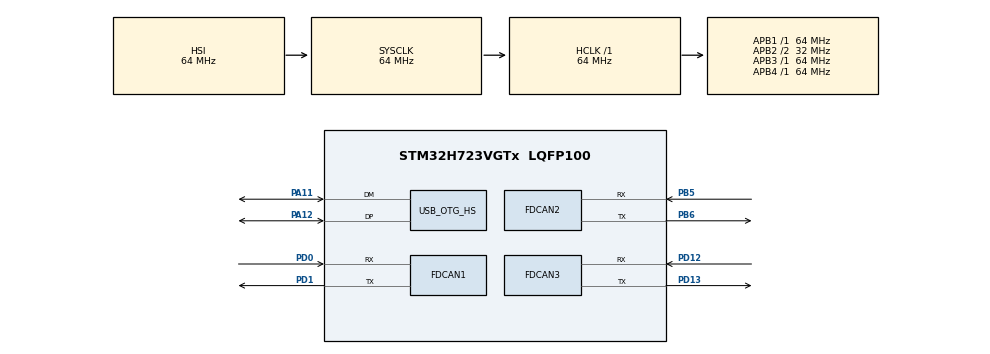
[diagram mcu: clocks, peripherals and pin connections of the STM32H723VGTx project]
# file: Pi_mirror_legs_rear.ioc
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CORTEX_M7.default_mode_Activation=1
FDCAN1.AutoRetransmission=ENABLE
FDCAN1.CalculateBaudRateNominal=1000000
FDCAN1.CalculateTimeBitNominal=1000
FDCAN1.CalculateTimeQuantumNominal=20.833333333333332
FDCAN1.DataPrescaler=3
FDCAN1.DataSyncJumpWidth=5
FDCAN1.DataTimeSeg1=10
FDCAN1.DataTimeSeg2=5
FDCAN1.NominalPrescaler=1
FDCAN1.NominalSyncJumpWidth=6
FDCAN1.NominalTimeSeg1=32
FDCAN1.NominalTimeSeg2=15
FDCAN1.RxFifo0ElmtsNbr=1
FDCAN1.StdFiltersNbr=1
FDCAN1.TxFifoQueueElmtsNbr=1
FDCAN2.AutoRetransmission=ENABLE
FDCAN2.CalculateBaudRateNominal=1000000
FDCAN2.CalculateTimeBitNominal=1000
FDCAN2.CalculateTimeQuantumNominal=20.833333333333332
FDCAN2.DataPrescaler=3
FDCAN2.DataSyncJumpWidth=5
FDCAN2.DataTimeSeg1=10
FDCAN2.DataTimeSeg2=5
FDCAN2.MessageRAMOffset=512
FDCAN2.NominalPrescaler=1
FDCAN2.NominalSyncJumpWidth=6
FDCAN2.NominalTimeSeg1=32
FDCAN2.NominalTimeSeg2=15
FDCAN2.RxFifo0ElmtsNbr=1
FDCAN2.RxFifo1ElmtsNbr=0
FDCAN2.StdFiltersNbr=1
FDCAN2.TxFifoQueueElmtsNbr=1
FDCAN3.AutoRetransmission=ENABLE
FDCAN3.CalculateBaudRateNominal=1000000
FDCAN3.CalculateTimeBitNominal=1000
FDCAN3.CalculateTimeQuantumNominal=20.833333333333332
FDCAN3.DataPrescaler=3
FDCAN3.DataSyncJumpWidth=5
FDCAN3.DataTimeSeg1=10
FDCAN3.MessageRAMOffset=1024
FDCAN3.NominalPrescaler=1
FDCAN3.NominalSyncJumpWidth=6
FDCAN3.NominalTimeSeg1=32
FDCAN3.NominalTimeSeg2=15
FDCAN3.RxFifo0ElmtsNbr=1
FDCAN3.StdFiltersNbr=1
FDCAN3.TxFifoQueueElmtsNbr=1
Mcu.Family=STM32H7
Mcu.Name=STM32H723VGTx
Mcu.Package=LQFP100
NVIC.FDCAN1_IT0_IRQn=true\:0\:0\:false\:false\:true\:true\:true\:true
NVIC.FDCAN2_IT0_IRQn=true\:0\:0\:false\:false\:true\:true\:true\:true
NVIC.FDCAN3_IT0_IRQn=true\:0\:0\:false\:false\:true\:true\:true\:true
NVIC.OTG_HS_IRQn=true\:0\:0\:false\:false\:true\:false\:true\:true
NVIC.PriorityGroup=NVIC_PRIORITYGROUP_4
PA11.Mode=Device_Only_FS
PA11.Signal=USB_OTG_HS_DM
PA12.Mode=Device_Only_FS
PA12.Signal=USB_OTG_HS_DP
PB5.Mode=FDCAN_Activate
PB5.Signal=FDCAN2_RX
PB6.Mode=FDCAN_Activate
PB6.Signal=FDCAN2_TX
PD0.Mode=FDCAN_Activate
PD0.Signal=FDCAN1_RX
PD1.Mode=FDCAN_Activate
PD1.Signal=FDCAN1_TX
PD12.Mode=FDCAN_Activate
PD12.Signal=FDCAN3_RX
PD13.Mode=FDCAN_Activate
PD13.Signal=FDCAN3_TX
ProjectManager.HeapSize=0x200
ProjectManager.StackSize=0x400
ProjectManager.TargetToolchain=STM32CubeIDE
RCC.ADCFreq_Value=129000000
RCC.APB1Freq_Value=64000000
RCC.APB2Freq_Value=32000000
RCC.APB3Freq_Value=64000000
RCC.APB4Freq_Value=64000000
RCC.CortexFreq_Value=64000000
RCC.D2PPRE2=RCC_APB2_DIV2
RCC.DIVM1=4
RCC.DIVN1=12
RCC.DIVQ1=4
RCC.HCLKFreq_Value=64000000
RCC.PLLSource=RCC_PLLSOURCE_HSI
RCC.PLLSourceVirtual=RCC_PLLSOURCE_HSI
RCC.SYSCLKFreq_VALUE=64000000
RCC.USBFreq_Value=48000000
USB_DEVICE.CLASS_NAME_HS=CDC
USB_DEVICE.USBD_LPM_ENABLED=0
USB_DEVICE.USBD_SELF_POWERED=1
USB_DEVICE.VirtualMode=Cdc
USB_DEVICE.VirtualModeHS=Cdc_HS
USB_OTG_HS.VirtualMode-Device_Only_FS=Device_Only_FS
VP_MEMORYMAP_VS_MEMORYMAP.Mode=CurAppReg
VP_USB_DEVICE_VS_USB_DEVICE_CDC_HS.Mode=CDC_HS
board=custom

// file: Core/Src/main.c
/* USER CODE BEGIN Header */
/**
  ******************************************************************************
  * @file           : main.c
  * @brief          : Main program body
  ******************************************************************************
  * @attention
  *
  * Copyright (c) 2025 STMicroelectronics.
  * All rights reserved.
  *
  * This software is licensed under terms that can be found in the LICENSE file
  * in the root directory of this software component.
  * If no LICENSE file comes with this software, it is provided AS-IS.
  *
  ******************************************************************************
  */
/* USER CODE END Header */
#include "main.h"
#include "usb_device.h"

/* USER CODE BEGIN Includes */
#include <stdio.h>
#include <string.h>
#include "usbd_cdc_if.h"

extern USBD_HandleTypeDef hUsbDeviceHS;

/* USER CODE END Includes */

FDCAN_HandleTypeDef hfdcan1;
FDCAN_HandleTypeDef hfdcan2;
FDCAN_HandleTypeDef hfdcan3;

void SystemClock_Config(void);
static void MPU_Config(void);
static void MX_GPIO_Init(void);
static void MX_FDCAN1_Init(void);
static void MX_FDCAN2_Init(void);
static void MX_FDCAN3_Init(void);

/* USER CODE BEGIN 0 */
float live_position3 = 0.0f;
float live_position2 = 0.0f;
float live_position = 0.0f;

void HAL_FDCAN_RxFifo0Callback(FDCAN_HandleTypeDef *hfdcan, uint32_t RxFifo0ITs)
{
    if ((RxFifo0ITs & FDCAN_IT_RX_FIFO0_NEW_MESSAGE) != RESET)
    {
        FDCAN_RxHeaderTypeDef RxHeader;
        uint8_t rx_data[8];

        if (HAL_FDCAN_GetRxMessage(hfdcan, FDCAN_RX_FIFO0, &RxHeader, rx_data) != HAL_OK)
        {
            Error_Handler();
        }

        if (rx_data[2] == 0x33 && rx_data[3] == 80) {
            uint32_t raw = (rx_data[7] << 24) | (rx_data[6] << 16) |
                           (rx_data[5] << 8) | rx_data[4];
            float value;
            memcpy(&value, &raw, sizeof(float));

            // Round to 3 decimals (optional)
            value = ((int)(value * 1000)) / 1000.0f;

            // Send float to Pi over USB
            CDC_Transmit_HS((uint8_t*)&value, sizeof(float));
        }
    }
}

/* USER CODE END 0 */

int main(void)
{

  /* MPU Configuration--------------------------------------------------------*/
  MPU_Config();

  /* MCU Configuration--------------------------------------------------------*/

  /* Reset of all peripherals, Initializes the Flash interface and the Systick. */
  HAL_Init();

  /* Configure the system clock */
  SystemClock_Config();

  /* Initialize all configured peripherals */
  MX_GPIO_Init();
  MX_FDCAN1_Init();
  MX_FDCAN2_Init();
  MX_USB_DEVICE_Init();
  MX_FDCAN3_Init();
  /* USER CODE BEGIN 2 */
  extern uint8_t CDC_Transmit_HS(uint8_t* Buf, uint16_t Len);
  CDC_Transmit_HS((uint8_t*)"STM32 USB READY\n", 17);

  HAL_FDCAN_Start(&hfdcan1);
  HAL_FDCAN_Start(&hfdcan2);
  HAL_FDCAN_Start(&hfdcan3);
  HAL_FDCAN_ActivateNotification(&hfdcan1, FDCAN_IT_RX_FIFO0_NEW_MESSAGE, 0);
  HAL_FDCAN_ActivateNotification(&hfdcan2, FDCAN_IT_RX_FIFO0_NEW_MESSAGE, 0);
  HAL_FDCAN_ActivateNotification(&hfdcan3, FDCAN_IT_RX_FIFO0_NEW_MESSAGE, 0);

  /* USER CODE END 2 */

  /* Infinite loop */
  while (1)
  {

  }
}

void SystemClock_Config(void)
{
  RCC_OscInitTypeDef RCC_OscInitStruct = {0};
  RCC_ClkInitTypeDef RCC_ClkInitStruct = {0};

  /** Supply configuration update enable
  */
  HAL_PWREx_ConfigSupply(PWR_LDO_SUPPLY);

  /** Configure the main internal regulator output voltage
  */
  __HAL_PWR_VOLTAGESCALING_CONFIG(PWR_REGULATOR_VOLTAGE_SCALE3);

  while(!__HAL_PWR_GET_FLAG(PWR_FLAG_VOSRDY)) {}

  /** Initializes the RCC Oscillators according to the specified parameters
  * in the RCC_OscInitTypeDef structure.
  */
  RCC_OscInitStruct.OscillatorType = RCC_OSCILLATORTYPE_HSI;
  RCC_OscInitStruct.HSIState = RCC_HSI_DIV1;
  RCC_OscInitStruct.HSICalibrationValue = 64;
  RCC_OscInitStruct.PLL.PLLState = RCC_PLL_ON;
  RCC_OscInitStruct.PLL.PLLSource = RCC_PLLSOURCE_HSI;
  RCC_OscInitStruct.PLL.PLLM = 4;
  RCC_OscInitStruct.PLL.PLLN = 12;
  RCC_OscInitStruct.PLL.PLLP = 2;
  RCC_OscInitStruct.PLL.PLLQ = 4;
  RCC_OscInitStruct.PLL.PLLR = 2;
  RCC_OscInitStruct.PLL.PLLRGE = RCC_PLL1VCIRANGE_3;
  RCC_OscInitStruct.PLL.PLLVCOSEL = RCC_PLL1VCOWIDE;
  RCC_OscInitStruct.PLL.PLLFRACN = 0;
  if (HAL_RCC_OscConfig(&RCC_OscInitStruct) != HAL_OK)
  {
    Error_Handler();
  }

  /** Initializes the CPU, AHB and APB buses clocks
  */
  RCC_ClkInitStruct.ClockType = RCC_CLOCKTYPE_HCLK|RCC_CLOCKTYPE_SYSCLK
                              |RCC_CLOCKTYPE_PCLK1|RCC_CLOCKTYPE_PCLK2
                              |RCC_CLOCKTYPE_D3PCLK1|RCC_CLOCKTYPE_D1PCLK1;
  RCC_ClkInitStruct.SYSCLKSource = RCC_SYSCLKSOURCE_HSI;
  RCC_ClkInitStruct.SYSCLKDivider = RCC_SYSCLK_DIV1;
  RCC_ClkInitStruct.AHBCLKDivider = RCC_HCLK_DIV1;
  RCC_ClkInitStruct.APB3CLKDivider = RCC_APB3_DIV1;
  RCC_ClkInitStruct.APB1CLKDivider = RCC_APB1_DIV1;
  RCC_ClkInitStruct.APB2CLKDivider = RCC_APB2_DIV2;
  RCC_ClkInitStruct.APB4CLKDivider = RCC_APB4_DIV1;

  if (HAL_RCC_ClockConfig(&RCC_ClkInitStruct, FLASH_LATENCY_1) != HAL_OK)
  {
    Error_Handler();
  }
}

static void MX_FDCAN1_Init(void)
{

  hfdcan1.Instance = FDCAN1;
  hfdcan1.Init.FrameFormat = FDCAN_FRAME_CLASSIC;
  hfdcan1.Init.Mode = FDCAN_MODE_NORMAL;
  hfdcan1.Init.AutoRetransmission = ENABLE;
  hfdcan1.Init.TransmitPause = DISABLE;
  hfdcan1.Init.ProtocolException = DISABLE;
  hfdcan1.Init.NominalPrescaler = 1;
  hfdcan1.Init.NominalSyncJumpWidth = 6;
  hfdcan1.Init.NominalTimeSeg1 = 32;
  hfdcan1.Init.NominalTimeSeg2 = 15;
  hfdcan1.Init.DataPrescaler = 3;
  hfdcan1.Init.DataSyncJumpWidth = 5;
  hfdcan1.Init.DataTimeSeg1 = 10;
  hfdcan1.Init.DataTimeSeg2 = 5;
  hfdcan1.Init.MessageRAMOffset = 0;
  hfdcan1.Init.StdFiltersNbr = 1;
  hfdcan1.Init.ExtFiltersNbr = 0;
  hfdcan1.Init.RxFifo0ElmtsNbr = 1;
  hfdcan1.Init.RxFifo0ElmtSize = FDCAN_DATA_BYTES_8;
  hfdcan1.Init.RxFifo1ElmtsNbr = 0;
  hfdcan1.Init.RxFifo1ElmtSize = FDCAN_DATA_BYTES_8;
  hfdcan1.Init.RxBuffersNbr = 0;
  hfdcan1.Init.RxBufferSize = FDCAN_DATA_BYTES_8;
  hfdcan1.Init.TxEventsNbr = 0;
  hfdcan1.Init.TxBuffersNbr = 0;
  hfdcan1.Init.TxFifoQueueElmtsNbr = 1;
  hfdcan1.Init.TxFifoQueueMode = FDCAN_TX_FIFO_OPERATION;
  hfdcan1.Init.TxElmtSize = FDCAN_DATA_BYTES_8;
  if (HAL_FDCAN_Init(&hfdcan1) != HAL_OK)
  {
    Error_Handler();
  }
  /* USER CODE BEGIN FDCAN1_Init 2 */

  FDCAN_FilterTypeDef sFilterConfig;

      sFilterConfig.IdType = FDCAN_STANDARD_ID;
      sFilterConfig.FilterIndex = 0;
      sFilterConfig.FilterType = FDCAN_FILTER_MASK;
      sFilterConfig.FilterConfig = FDCAN_FILTER_TO_RXFIFO0;
      sFilterConfig.FilterID1 = 0x000;  // ID da accettare
      sFilterConfig.FilterID2 = 0x7FF;  // Maschera: accetta solo 0x7FF

      if (HAL_FDCAN_ConfigFilter(&hfdcan1, &sFilterConfig) != HAL_OK)
      {
          Error_Handler();
      }

  HAL_NVIC_SetPriority(FDCAN1_IT0_IRQn, 0, 0);
  HAL_NVIC_EnableIRQ(FDCAN1_IT0_IRQn);
  /* USER CODE END FDCAN1_Init 2 */

}

static void MX_FDCAN2_Init(void)
{

  hfdcan2.Instance = FDCAN2;
  hfdcan2.Init.FrameFormat = FDCAN_FRAME_CLASSIC;
  hfdcan2.Init.Mode = FDCAN_MODE_NORMAL;
  hfdcan2.Init.AutoRetransmission = ENABLE;
  hfdcan2.Init.TransmitPause = DISABLE;
  hfdcan2.Init.ProtocolException = DISABLE;
  hfdcan2.Init.NominalPrescaler = 1;
  hfdcan2.Init.NominalSyncJumpWidth = 6;
  hfdcan2.Init.NominalTimeSeg1 = 32;
  hfdcan2.Init.NominalTimeSeg2 = 15;
  hfdcan2.Init.DataPrescaler = 3;
  hfdcan2.Init.DataSyncJumpWidth = 5;
  hfdcan2.Init.DataTimeSeg1 = 10;
  hfdcan2.Init.DataTimeSeg2 = 5;
  hfdcan2.Init.MessageRAMOffset = 512;
  hfdcan2.Init.StdFiltersNbr = 1;
  hfdcan2.Init.ExtFiltersNbr = 0;
  hfdcan2.Init.RxFifo0ElmtsNbr = 1;
  hfdcan2.Init.RxFifo0ElmtSize = FDCAN_DATA_BYTES_8;
  hfdcan2.Init.RxFifo1ElmtsNbr = 0;
  hfdcan2.Init.RxFifo1ElmtSize = FDCAN_DATA_BYTES_8;
  hfdcan2.Init.RxBuffersNbr = 0;
  hfdcan2.Init.RxBufferSize = FDCAN_DATA_BYTES_8;
  hfdcan2.Init.TxEventsNbr = 0;
  hfdcan2.Init.TxBuffersNbr = 0;
  hfdcan2.Init.TxFifoQueueElmtsNbr = 1;
  hfdcan2.Init.TxFifoQueueMode = FDCAN_TX_FIFO_OPERATION;
  hfdcan2.Init.TxElmtSize = FDCAN_DATA_BYTES_8;
  if (HAL_FDCAN_Init(&hfdcan2) != HAL_OK)
  {
    Error_Handler();
  }
  /* USER CODE BEGIN FDCAN2_Init 2 */
  FDCAN_FilterTypeDef sFilterConfig;

        sFilterConfig.IdType = FDCAN_STANDARD_ID;
        sFilterConfig.FilterIndex = 0;
        sFilterConfig.FilterType = FDCAN_FILTER_MASK;
        sFilterConfig.FilterConfig = FDCAN_FILTER_TO_RXFIFO0;
        sFilterConfig.FilterID1 = 0x000;  // ID da accettare
        sFilterConfig.FilterID2 = 0x7FF;  // Maschera: accetta solo 0x7FF

        if (HAL_FDCAN_ConfigFilter(&hfdcan2, &sFilterConfig) != HAL_OK)
        {
            Error_Handler();
        }

    HAL_NVIC_SetPriority(FDCAN2_IT0_IRQn, 0, 0);
    HAL_NVIC_EnableIRQ(FDCAN2_IT0_IRQn);
  /* USER CODE END FDCAN2_Init 2 */

}

static void MX_FDCAN3_Init(void)
{

  hfdcan3.Instance = FDCAN3;
  hfdcan3.Init.FrameFormat = FDCAN_FRAME_CLASSIC;
  hfdcan3.Init.Mode = FDCAN_MODE_NORMAL;
  hfdcan3.Init.AutoRetransmission = ENABLE;
  hfdcan3.Init.TransmitPause = DISABLE;
  hfdcan3.Init.ProtocolException = DISABLE;
  hfdcan3.Init.NominalPrescaler = 1;
  hfdcan3.Init.NominalSyncJumpWidth = 6;
  hfdcan3.Init.NominalTimeSeg1 = 32;
  hfdcan3.Init.NominalTimeSeg2 = 15;
  hfdcan3.Init.DataPrescaler = 3;
  hfdcan3.Init.DataSyncJumpWidth = 5;
  hfdcan3.Init.DataTimeSeg1 = 10;
  hfdcan3.Init.DataTimeSeg2 = 1;
  hfdcan3.Init.MessageRAMOffset = 1024;
  hfdcan3.Init.StdFiltersNbr = 1;
  hfdcan3.Init.ExtFiltersNbr = 0;
  hfdcan3.Init.RxFifo0ElmtsNbr = 1;
  hfdcan3.Init.RxFifo0ElmtSize = FDCAN_DATA_BYTES_8;
  hfdcan3.Init.RxFifo1ElmtsNbr = 0;
  hfdcan3.Init.RxFifo1ElmtSize = FDCAN_DATA_BYTES_8;
  hfdcan3.Init.RxBuffersNbr = 0;
  hfdcan3.Init.RxBufferSize = FDCAN_DATA_BYTES_8;
  hfdcan3.Init.TxEventsNbr = 0;
  hfdcan3.Init.TxBuffersNbr = 0;
  hfdcan3.Init.TxFifoQueueElmtsNbr = 1;
  hfdcan3.Init.TxFifoQueueMode = FDCAN_TX_FIFO_OPERATION;
  hfdcan3.Init.TxElmtSize = FDCAN_DATA_BYTES_8;
  if (HAL_FDCAN_Init(&hfdcan3) != HAL_OK)
  {
    Error_Handler();
  }
  /* USER CODE BEGIN FDCAN3_Init 2 */
  FDCAN_FilterTypeDef sFilterConfig;

        sFilterConfig.IdType = FDCAN_STANDARD_ID;
        sFilterConfig.FilterIndex = 0;
        sFilterConfig.FilterType = FDCAN_FILTER_MASK;
        sFilterConfig.FilterConfig = FDCAN_FILTER_TO_RXFIFO0;
        sFilterConfig.FilterID1 = 0x000;  // ID da accettare
        sFilterConfig.FilterID2 = 0x7FF;  // Maschera: accetta solo 0x7FF

        if (HAL_FDCAN_ConfigFilter(&hfdcan3, &sFilterConfig) != HAL_OK)
        {
            Error_Handler();
        }

    HAL_NVIC_SetPriority(FDCAN3_IT0_IRQn, 0, 0);
    HAL_NVIC_EnableIRQ(FDCAN3_IT0_IRQn);
  /* USER CODE END FDCAN3_Init 2 */

}

static void MX_GPIO_Init(void)
{

  /* GPIO Ports Clock Enable */
  __HAL_RCC_GPIOD_CLK_ENABLE();
  __HAL_RCC_GPIOA_CLK_ENABLE();
  __HAL_RCC_GPIOB_CLK_ENABLE();

}

 /* MPU Configuration */

void MPU_Config(void)
{
  MPU_Region_InitTypeDef MPU_InitStruct = {0};

  /* Disables the MPU */
  HAL_MPU_Disable();

  /** Initializes and configures the Region and the memory to be protected
  */
  MPU_InitStruct.Enable = MPU_REGION_ENABLE;
  MPU_InitStruct.Number = MPU_REGION_NUMBER0;
  MPU_InitStruct.BaseAddress = 0x0;
  MPU_InitStruct.Size = MPU_REGION_SIZE_4GB;
  MPU_InitStruct.SubRegionDisable = 0x87;
  MPU_InitStruct.TypeExtField = MPU_TEX_LEVEL0;
  MPU_InitStruct.AccessPermission = MPU_REGION_NO_ACCESS;
  MPU_InitStruct.DisableExec = MPU_INSTRUCTION_ACCESS_DISABLE;
  MPU_InitStruct.IsShareable = MPU_ACCESS_SHAREABLE;
  MPU_InitStruct.IsCacheable = MPU_ACCESS_NOT_CACHEABLE;
  MPU_InitStruct.IsBufferable = MPU_ACCESS_NOT_BUFFERABLE;

  HAL_MPU_ConfigRegion(&MPU_InitStruct);
  /* Enables the MPU */
  HAL_MPU_Enable(MPU_PRIVILEGED_DEFAULT);

}

void Error_Handler(void)
{
  __disable_irq();
  while (1)
  {
  }
}
